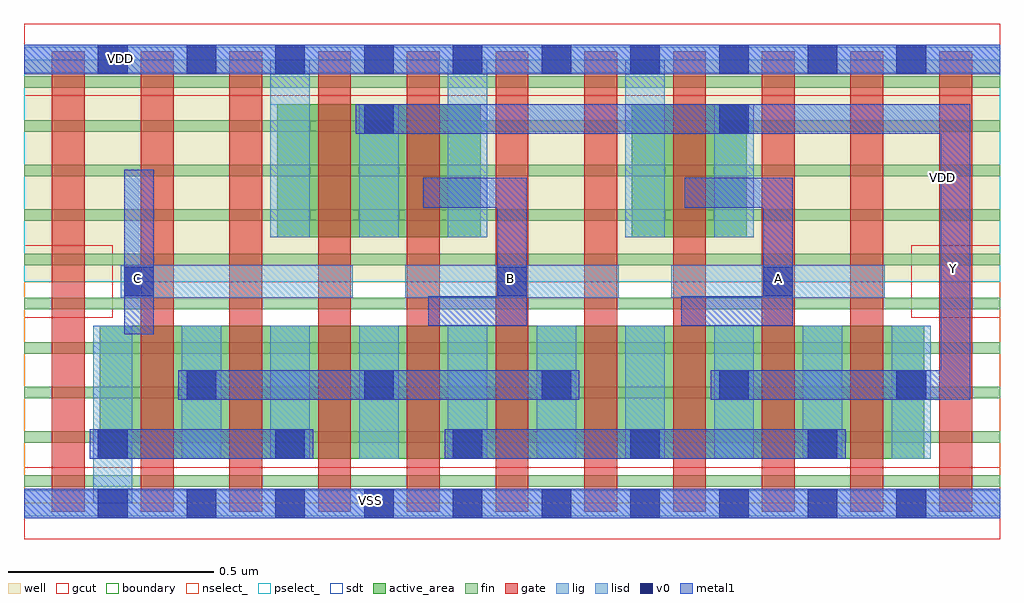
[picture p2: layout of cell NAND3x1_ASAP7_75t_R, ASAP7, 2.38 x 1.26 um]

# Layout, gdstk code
import gdstk
lib = gdstk.Library(unit=1e-6, precision=2.5e-10)
def R(c, l, rs):  # rectangles x0, y0, x1, y1
    for r in rs: c.add(gdstk.rectangle(r[:2], r[2:], *l))
def A(c, l, x, y, w, h, nx, ny, dx, dy):  # array of equal rectangles
    R(c, l, [(x+i*dx, y+j*dy, x+i*dx+w, y+j*dy+h) for i in range(nx) for j in range(ny)])
def P(c, l, *ps):  # polygons
    for p in ps: c.add(gdstk.Polygon(p, *l))
well = (1, 0)
fin = (2, 0)
gate = (7, 0)
gcut = (10, 0)
active_area = (11, 0)
nselect_ = (12, 0)
pselect_ = (13, 0)
lig = (16, 0)
lisd = (17, 0)
v0 = (18, 0)
metal1 = (19, 0)
sdt = (88, 0)
boundary = (100, 0)

nand3x1_asap7_75t_r = lib.new_cell('NAND3x1_ASAP7_75t_R')
R(nand3x1_asap7_75t_r, well, [(0,0.54,2.376,1.08)])
A(nand3x1_asap7_75t_r, fin, 0, 0.04, 2.376, 0.028, 1, 10, 0, 0.108)
A(nand3x1_asap7_75t_r, gate, 0.068, -0.02, 0.08, 1.12, 11, 1, 0.216, 0)
R(nand3x1_asap7_75t_r, gcut, [(0,-0.088,2.376,0.088), (0,0.452,0.216,0.628), (2.16,0.452,2.376,0.628), (0,0.992,2.376,1.168)])
R(nand3x1_asap7_75t_r, active_area, [(0.184,0.108,2.192,0.432), (0.616,0.648,1.112,0.972), (1.48,0.648,1.76,0.972)])
R(nand3x1_asap7_75t_r, nselect_, [(0,0,2.376,0.54)])
R(nand3x1_asap7_75t_r, pselect_, [(0,0.54,2.376,1.08)])
R(nand3x1_asap7_75t_r, lig, [(0,-0.032,2.376,0.032), (0.236,0.5,0.8,0.58), (0.928,0.5,1.448,0.58), (1.576,0.5,2.096,0.58), (0,1.048,2.376,1.112)])
A(nand3x1_asap7_75t_r, lisd, 0.384, 0.108, 0.096, 0.324, 9, 1, 0.216, 0)
A(nand3x1_asap7_75t_r, lisd, 0.6, 0.648, 0.096, 0.432, 3, 1, 0.432, 0)
R(nand3x1_asap7_75t_r, lisd, [(0.168,0,0.264,0.432), (0.816,0.648,0.912,0.972), (1.68,0.648,1.776,0.972)])
A(nand3x1_asap7_75t_r, v0, 0.18, -0.036, 0.072, 0.072, 10, 2, 0.216, 1.08)
A(nand3x1_asap7_75t_r, v0, 0.18, 0.108, 0.072, 0.072, 5, 1, 0.432, 0)
A(nand3x1_asap7_75t_r, v0, 0.396, 0.252, 0.072, 0.072, 5, 1, 0.432, 0)
R(nand3x1_asap7_75t_r, v0, [(0.244,0.504,0.316,0.576), (1.152,0.504,1.224,0.576), (1.8,0.504,1.872,0.576), (0.828,0.9,0.9,0.972), (1.692,0.9,1.764,0.972)])
R(nand3x1_asap7_75t_r, metal1, [(0,-0.036,2.376,0.036), (0.16,0.108,0.704,0.18), (1.024,0.108,2,0.18), (0.376,0.252,1.352,0.324), (0.244,0.412,0.316,0.812), (0,1.044,2.376,1.116)])
P(nand3x1_asap7_75t_r, metal1, [(0.984,0.432),(0.984,0.504),(1.152,0.504),(1.152,0.72),(0.972,0.72),(0.972,0.792),(1.224,0.792),(1.224,0.432)],
  [(1.672,0.252),(1.672,0.324),(2.232,0.324),(2.232,0.9),(0.808,0.9),(0.808,0.972),(2.304,0.972),(2.304,0.252)],
  [(1.6,0.432),(1.6,0.504),(1.8,0.504),(1.8,0.72),(1.608,0.72),(1.608,0.792),(1.872,0.792),(1.872,0.432)])
A(nand3x1_asap7_75t_r, sdt, 0.168, 0.108, 0.096, 0.324, 10, 1, 0.216, 0)
A(nand3x1_asap7_75t_r, sdt, 0.6, 0.648, 0.096, 0.324, 3, 1, 0.216, 0)
R(nand3x1_asap7_75t_r, sdt, [(1.464,0.648,1.56,0.972), (1.68,0.648,1.776,0.972)])
R(nand3x1_asap7_75t_r, boundary, [(0,0,2.376,1.08)])
nand3x1_asap7_75t_r.add(gdstk.Label('VSS', (0.844,0.008), layer=19, texttype=251))
nand3x1_asap7_75t_r.add(gdstk.Label('VDD', (0.236,1.084), layer=19, texttype=251))
nand3x1_asap7_75t_r.add(gdstk.Label('Y', (2.264,0.572), layer=19, texttype=251))
nand3x1_asap7_75t_r.add(gdstk.Label('C', (0.276,0.548), layer=19, texttype=251))
nand3x1_asap7_75t_r.add(gdstk.Label('B', (1.184,0.548), layer=19, texttype=251))
nand3x1_asap7_75t_r.add(gdstk.Label('A', (1.836,0.548), layer=19, texttype=251))
nand3x1_asap7_75t_r.add(gdstk.Label('VDD', (2.236,0.792), layer=1, texttype=251))
nand3x1_asap7_75t_r.add(gdstk.Label('VSS', (2.512,0.788), layer=3, texttype=251))

lib.write_gds('NAND3x1_ASAP7_75t_R.gds')
